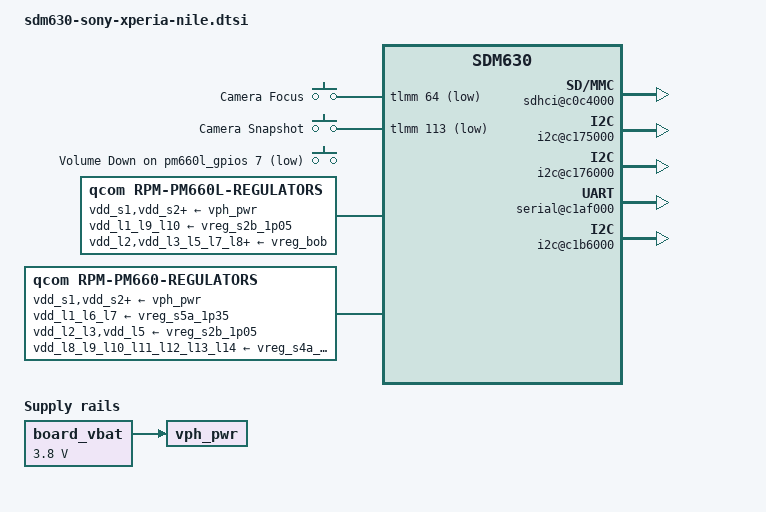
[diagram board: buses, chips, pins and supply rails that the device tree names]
// SPDX-License-Identifier: BSD-3-Clause
/*
 * Copyright (c) 2020, Konrad Dybcio
 */

/dts-v1/;

#include "sdm630.dtsi"
#include "pm660.dtsi"
#include "pm660l.dtsi"
#include <dt-bindings/gpio/gpio.h>
#include <dt-bindings/input/input.h>
#include <dt-bindings/input/gpio-keys.h>

/ {
	/* required for bootloader to select correct board */
	qcom,msm-id = <318 0>;
	qcom,board-id = <8 1>;
	qcom,pmic-id = <0x1001b 0x101011a 0x00 0x00 0x1001b 0x201011a 0x00 0x00>;

	/* This part enables graphical output via bootloader-enabled display */
	chosen {
		bootargs = "earlycon=tty0 console=tty0";

		#address-cells = <2>;
		#size-cells = <2>;
		ranges;

		stdout-path = "framebuffer0";

		framebuffer0: framebuffer@9d400000 {
			compatible = "simple-framebuffer";
			reg = <0 0x9d400000 0 (1920 * 1080 * 4)>;
			width = <1080>;
			height = <1920>;
			stride = <(1080 * 4)>;
			format = "a8r8g8b8";
			status= "okay";
		};
	};

	board_vbat: vbat-regulator {
		compatible = "regulator-fixed";
		regulator-name = "VBAT";

		regulator-min-microvolt = <3800000>;
		regulator-max-mixrovolt = <4250000>;
		regulator-always-on;
		regulator-boot-on;
	};

	vph_pwr: vph-pwr-regulator {
		compatible = "regulator-fixed";
		regulator-name = "vph_pwr";

		vin-supply = <&board_vbat>;
		regulator-always-on;
		regulator-boot-on;
	};

	gpio_keys {
		status = "okay";
		compatible = "gpio-keys";
		input-name = "gpio-keys";
		#address-cells = <1>;
		#size-cells = <0>;
		autorepeat;

		camera_focus {
			label = "Camera Focus";
			gpios = <&tlmm 64 GPIO_ACTIVE_LOW>;
			linux,input-type = <1>;
			linux,code = <KEY_CAMERA_FOCUS>;
			debounce-interval = <15>;
		};

		camera_snapshot {
			label = "Camera Snapshot";
			gpios = <&tlmm 113 GPIO_ACTIVE_LOW>;
			linux,input-type = <1>;
			linux,code = <KEY_CAMERA>;
			debounce-interval = <15>;
		};

		vol_down {
			label = "Volume Down";
			gpios = <&pm660l_gpios 7 GPIO_ACTIVE_LOW>;
			linux,input-type = <1>;
			linux,code = <KEY_VOLUMEDOWN>;
			gpio-key,wakeup;
			debounce-interval = <15>;
		};
	};

	reserved-memory {
		#address-cells = <2>;
		#size-cells = <2>;
		ranges;

		ramoops@ffc00000 {
			compatible = "ramoops";
			reg = <0x0 0xffc00000 0x0 0x100000>;
			record-size = <0x10000>;
			console-size = <0x60000>;
			ftrace-size = <0x10000>;
			pmsg-size = <0x20000>;
			ecc-size = <16>;
			status = "okay";
		};

		debug_region@ffb00000 {
			reg = <0x00 0xffb00000 0x00 0x100000>;
			no-map;
		};

		removed_region@85800000 {
			reg = <0x00 0x85800000 0x00 0x3700000>;
			no-map;
		};
	};

	soc {
		sdhci@c0c4000 {
			status = "okay";

			mmc-ddr-1_8v;
			/* SoMC Nile platform's eMMC doesn't support HS200 mode */
			mmc-hs400-1_8v;
		};

		i2c@c175000 {
			status = "okay";

			/* Synaptics touchscreen */
		};

		i2c@c176000 {
			status = "okay";

			/* SMB1351 charger */
		};

		serial@c1af000 {
			status = "okay";
		};

		/* I2C3, 4, 5, 7 and 8 are disabled on this board. */

		i2c@c1b6000 {
			status = "okay";

			/* NXP NFC */
		};
	};
};

&rpm_requests {
	pm660l-regulators {
		compatible = "qcom,rpm-pm660l-regulators";

		vdd_s1-supply = <&vph_pwr>;
		vdd_s2-supply = <&vph_pwr>;
		vdd_s3_s4-supply = <&vph_pwr>;
		vdd_s5-supply = <&vph_pwr>;
		vdd_s6-supply = <&vph_pwr>;

		vdd_l1_l9_l10-supply = <&vreg_s2b_1p05>;
		vdd_l2-supply = <&vreg_bob>;
		vdd_l3_l5_l7_l8-supply = <&vreg_bob>;
		vdd_l4_l6-supply = <&vreg_bob>;
		vdd_bob-supply = <&vph_pwr>;

		vreg_s1b_1p125: s1 {
			regulator-min-microvolt = <350000>;
			regulator-max-microvolt = <1355000>;
		};
		vreg_s2b_1p05: s2 {
			regulator-min-microvolt = <350000>;
			regulator-max-microvolt = <1355000>;
		};
		vreg_s3b_s4b_0p87: s3 {
			regulator-min-microvolt = <350000>;
			regulator-max-microvolt = <1355000>;
		};
		vreg_s5b_0p915: s5 {
			regulator-min-microvolt = <350000>;
			regulator-max-microvolt = <1355000>;
		};

		vreg_l1b_0p928: l1 {
			regulator-min-microvolt = <800000>;
			regulator-max-microvolt = <928000>;
		};
		vreg_l2b_2p95: l2 {
			regulator-min-microvolt = <350000>;
			regulator-max-microvolt = <3100000>;
		};
		vreg_l3b_3p0: l3 {
			regulator-min-microvolt = <1710000>;
			regulator-max-microvolt = <3544000>;
		};
		vreg_l4b_29p5: l4 {
			regulator-min-microvolt = <1700000>;
			regulator-max-microvolt = <2952000>;
		};
		vreg_l5b_29p5: l5 {
			regulator-min-microvolt = <1720000>;
			regulator-max-microvolt = <3600000>;
		};
		vreg_l6b_3p3: l6 {
			regulator-min-microvolt = <1704000>;
			regulator-max-microvolt = <3312000>;
		};
		vreg_l7b_3p125: l7 {
			regulator-min-microvolt = <2704000>;
			regulator-max-microvolt = <3128000>;
		};
		vreg_l8b_3p3: l8 {
			regulator-min-microvolt = <2800000>;
			regulator-max-microvolt = <3400000>;
		};
		vreg_l9b_0p87: l9 {
			regulator-min-microvolt = <1808000>;
			regulator-max-microvolt = <2960000>;
		};
		vreg_l10b_0p915: l10 {
			regulator-min-microvolt = <1808000>;
			regulator-max-microvolt = <2960000>;
		};
		vreg_bob: bob {
			regulator-min-microvolt = <3300000>;
			regulator-max-microvolt = <3600000>;
		};
	};

	pm660-regulators {
		compatible = "qcom,rpm-pm660-regulators";

		vdd_s1-supply = <&vph_pwr>;
		vdd_s2-supply = <&vph_pwr>;
		vdd_s3-supply = <&vph_pwr>;
		vdd_s4-supply = <&vph_pwr>;
		vdd_s5-supply = <&vph_pwr>;
		vdd_s6-supply = <&vph_pwr>;

		vdd_l1_l6_l7-supply = <&vreg_s5a_1p35>;
		vdd_l2_l3-supply = <&vreg_s2b_1p05>;
		vdd_l5-supply = <&vreg_s2b_1p05>;
		vdd_l8_l9_l10_l11_l12_l13_l14-supply = <&vreg_s4a_2p04>;
		vdd_l15_l16_l17_l18_l19-supply = <&vreg_bob>;

		vreg_s1a_ftapc0: s1 {
			regulator-min-microvolt = <568000>;
			regulator-max-microvolt = <1172000>;
		};
		vreg_s2a_ftapc1: s2 {
			regulator-min-microvolt = <568000>;
			regulator-max-microvolt = <1172000>;
		};
		vreg_s3a_hfapc1: s3 {
			regulator-min-microvolt = <568000>;
			regulator-max-microvolt = <1172000>;
		};
		vreg_s4a_2p04: s4 {
			regulator-min-microvolt = <1805000>;
			regulator-max-microvolt = <2040000>;
		};
		vreg_s5a_1p35: s5 {
			regulator-min-microvolt = <1224000>;
			regulator-max-microvolt = <1350000>;
		};
		vreg_s6a_0p87: s6 {
			regulator-min-microvolt = <504000>;
			regulator-max-microvolt = <1028000>;
		};

		vreg_l1a_1p225: l1 {
			regulator-min-microvolt = <1152000>;
			regulator-max-microvolt = <1250000>;
		};
		vreg_l2a_1p0: l2 {
			regulator-min-microvolt = <944000>;
			regulator-max-microvolt = <1008000>;
		};
		vreg_l3a_1p0: l3 {
			regulator-min-microvolt = <944000>;
			regulator-max-microvolt = <1008000>;
		};
		vreg_l5a_0p848: l5 {
			regulator-min-microvolt = <528000>;
			regulator-max-microvolt = <952000>;
		};
		vreg_l6a_1p3: l6 {
			regulator-min-microvolt = <1200000>;
			regulator-max-microvolt = <1368000>;
		};
		vreg_l7a_1p2: l7 {
			regulator-min-microvolt = <1200000>;
			regulator-max-microvolt = <1200000>;
		};
		vreg_l8a_1p8: l8 {
			regulator-min-microvolt = <1784000>;
			regulator-max-microvolt = <1896000>;
		};
		vreg_l9a_1p8: l9 {
			regulator-min-microvolt = <1784000>;
			regulator-max-microvolt = <1896000>;
		};
		vreg_l10a_1p8: l10 {
			regulator-min-microvolt = <1784000>;
			regulator-max-microvolt = <1944000>;
		};
		vreg_l11a_1p8: l11 {
			regulator-min-microvolt = <1784000>;
			regulator-max-microvolt = <1944000>;
		};
		vreg_l12a_1p8: l12 {
			regulator-min-microvolt = <1784000>;
			regulator-max-microvolt = <1944000>;
		};
		vreg_l13a_1p8: l13 {
			regulator-min-microvolt = <1784000>;
			regulator-max-microvolt = <1944000>;
		};
		vreg_l14a_1p8: l14 {
			regulator-min-microvolt = <1710000>;
			regulator-max-microvolt = <1904000>;
		};
		vreg_l15a_1p8: l15 {
			regulator-min-microvolt = <1648000>;
			regulator-max-microvolt = <2952000>;
		};
		vreg_l16a_2p7: l16 {
			regulator-min-microvolt = <2696000>;
			regulator-max-microvolt = <2704000>;
		};
		vreg_l17a_1p8: l17 {
			regulator-min-microvolt = <1648000>;
			regulator-max-microvolt = <2952000>;
		};
		vreg_l18a_1p8: l18 {
			regulator-min-microvolt = <1800000>;
			regulator-max-microvolt = <1800000>;
		};
		vreg_l19a_3p3: l19 {
			regulator-min-microvolt = <3200000>;
			regulator-max-microvolt = <3400000>;
		};
	};
};
